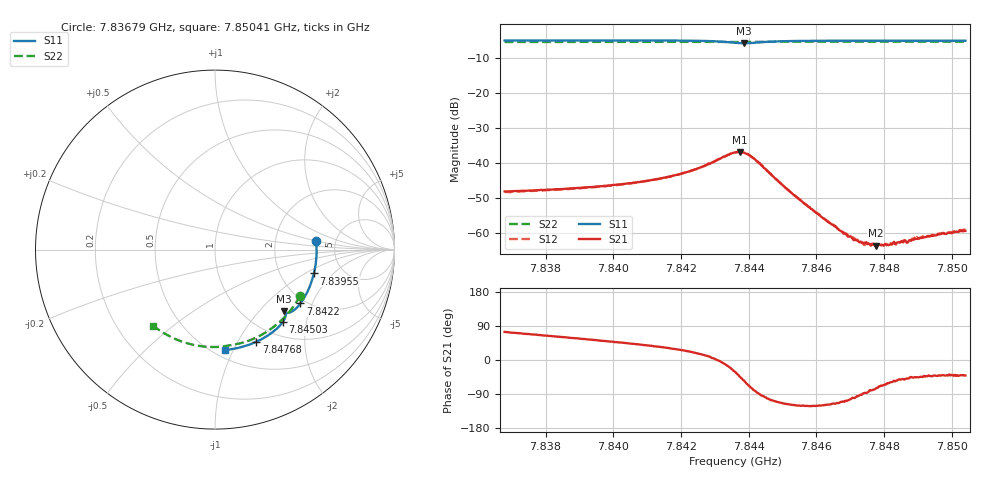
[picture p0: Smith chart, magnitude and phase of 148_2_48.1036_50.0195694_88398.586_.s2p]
#  HZ  S  RI  R  50.00
! Rohde & Schwarz Vector Network Analyzer
! Rohde-Schwarz,ZNB20-2Port,1311601062101988,3.16
! Created: UTC 12/23/2023, 3:49:28 AM
! freq[Hz]  re:S11  im:S11  re:S21  im:S21  re:S12  im:S12  re:S22  im:S22
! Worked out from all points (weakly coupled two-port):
!   401 points, 7.83679 GHz to 7.85041 GHz, reference 50 ohm
!   highest |S21| = -36.85 dB at 7.84373 GHz (marker M1); lowest = -63.6 dB at 7.84775 GHz (marker M2)
!   lowest |S11| = -5.7 dB at 7.84387 GHz (marker M3), VSWR 3.14, Z = 73.8 - j69.5 ohm
!   |S11| at or under -10 dB: nowhere
!   |S22| runs from -5.4 to -5.3 dB; largest |S21 - S12| = 0.00026
!   S11 on the Smith chart (normalised r, x): 7.83679 GHz: 3.53, +0.51; 7.83955 GHz: 3.09, -1.21; 7.8422 GHz: 1.88, -1.65; 7.84503 GHz: 1.25, -1.47; 7.84768 GHz: 0.80, -1.20; 7.85041 GHz: 0.57, -0.93
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7.836789e9  0.564 0.0496  0.00107 0.00379  0.00112 0.00368  0.4741 -0.2573
7.83907e9  0.5577 -0.1018  0.00251 0.00368  0.00251 0.00362  0.3788 -0.3852
7.839547e9  0.551 -0.1329  0.00287 0.00363  0.00283 0.00359  0.3545 -0.408
7.841351e9  0.5082 -0.2481  0.00488 0.00341  0.00486 0.00341  0.2505 -0.4798
7.842203e9  0.4761 -0.2999  0.0069 0.00296  0.00688 0.00295  0.1961 -0.5045
7.843088e9  0.4264 -0.3462  0.0112 -0.000126  0.0112 -2.94e-05  0.1365 -0.5229
7.843599e9  0.3911 -0.3511  0.0121 -0.00731  0.0122 -0.00728  0.1023 -0.5293
7.843735e9  0.3864 -0.3477  0.0104 -0.00992  0.0105 -0.00976  0.0937 -0.5308
7.843871e9  0.3859 -0.3446  0.00808 -0.0115  0.00794 -0.0115  0.085 -0.5323
7.844041e9  0.3893 -0.3456  0.00423 -0.0121  0.0044 -0.012  0.0742 -0.5343
7.844245e9  0.3937 -0.3539  0.000781 -0.0106  0.000951 -0.0106  0.0608 -0.5369
7.845028e9  0.3764 -0.4053  -0.00197 -0.00429  -0.00195 -0.00435  0.00591 -0.5427
7.84588e9  0.3342 -0.4493  -0.00113 -0.00188  -0.00111 -0.00184  -0.054 -0.5408
7.846697e9  0.2884 -0.4824  -0.000406 -0.00101  -0.000416 -0.00103  -0.1108 -0.5327
7.847003e9  0.2705 -0.4931  -0.000215 -0.000875  -0.000208 -0.000857  -0.1318 -0.5281
7.847378e9  0.2482 -0.5049  1.98e-05 -0.000719  3.51e-05 -0.000736  -0.1572 -0.5214
7.847684e9  0.2296 -0.514  0.000138 -0.000669  0.00013 -0.000689  -0.1778 -0.5149
7.847752e9  0.2254 -0.5158  0.000164 -0.000637  0.000188 -0.000647  -0.1822 -0.5133
7.847922e9  0.2148 -0.5204  0.000263 -0.000626  0.000247 -0.000626  -0.1936 -0.5093
7.848161e9  0.2 -0.5263  0.000341 -0.000592  0.000342 -0.000587  -0.209 -0.5033
7.849693e9  0.1016 -0.5535  0.000731 -0.000633  0.000764 -0.000621  -0.3041 -0.4532
7.850408e9  0.0545 -0.5596  0.000812 -0.000701  0.000855 -0.000708  -0.3445 -0.4237
